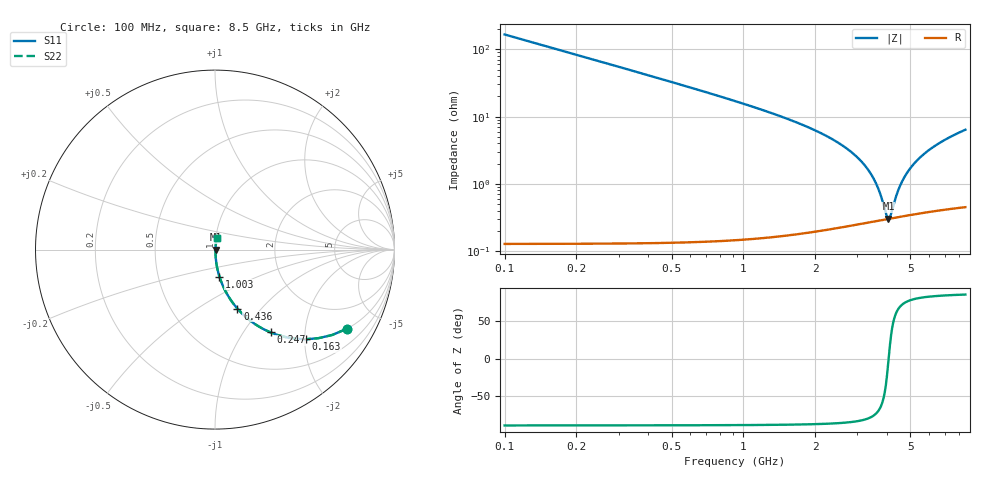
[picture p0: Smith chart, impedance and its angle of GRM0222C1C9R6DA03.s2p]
!Murata Part Number: GRM0222C1C9R6DA03
!These Parameters are Measured in Series Mode Connection
!Data Generated on Mar 30, 2021
!  o--ll--o
!Port1  Port2
!  o------o
!Operation Temp=25[degC], DC Bias Voltage=0[V]
!Freq. Start=100[MHz] Stop=9[GHz] 401[Steps]
# Hz S RI R 50
!Freq.(Hz) S11(Real) S11(Imag) S21(Real) S21(Imag) S12(Real) S12(Imag) S22(Real) S22(Imag)
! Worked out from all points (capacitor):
!   401 points, 100 MHz to 8.5 GHz, reference 50 ohm
!   read as one part in series: C = 9.6 pF near 142 MHz
!   lowest |Z| = 304 mohm at 4.048 GHz (marker M1)
!   series resonance near 4.056 GHz, so ESL is about 160 pH
!   S11 on the Smith chart (normalised r, x): 100 MHz: 1.00, -3.31; 163 MHz: 1.00, -2.03; 247 MHz: 1.00, -1.34; 436 MHz: 1.00, -0.75; 1.003 GHz: 1.00, -0.31; 8.5 GHz: 1.01, +0.13
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1e8  0.7328 -0.4421  0.2672 0.4421  0.2672 0.4421  0.7328 -0.4421
1.63e8  0.5076 -0.4993  0.4924 0.4993  0.4924 0.4993  0.5076 -0.4993
2.47e8  0.3093 -0.4612  0.6907 0.4612  0.6907 0.4612  0.3093 -0.4612
3.31e8  0.199 -0.3979  0.801 0.3979  0.801 0.3979  0.199 -0.3979
4.36e8  0.1246 -0.3284  0.8754 0.3284  0.8754 0.3284  0.1246 -0.3284
6.88e8  0.053 -0.2211  0.947 0.2211  0.947 0.2211  0.053 -0.2211
1.003e9  0.0248 -0.1508  0.9752 0.1508  0.9752 0.1508  0.0248 -0.1508
1.507e9  0.0105 -0.0932  0.9895 0.0932  0.9895 0.0932  0.0105 -0.0932
2.914e9  0.00318 -0.027  0.9968 0.027  0.9968 0.027  0.00318 -0.027
3.25e9  0.00294 -0.0179  0.9971 0.0179  0.9971 0.0179  0.00294 -0.0179
3.523e9  0.00289 -0.0113  0.9971 0.0113  0.9971 0.0113  0.00289 -0.0113
3.733e9  0.00291 -0.00663  0.9971 0.00663  0.9971 0.00663  0.00291 -0.00663
3.964e9  0.00299 -0.00182  0.997 0.00182  0.997 0.00182  0.00299 -0.00182
4.048e9  0.00302 -0.000153  0.997 0.000153  0.997 0.000153  0.00302 -0.000153
4.132e9  0.00307 0.00148  0.9969 -0.00148  0.9969 -0.00148  0.00307 0.00148
4.3e9  0.00316 0.00465  0.9968 -0.00465  0.9968 -0.00465  0.00316 0.00465
4.531e9  0.00332 0.00882  0.9967 -0.00882  0.9967 -0.00882  0.00332 0.00882
4.825e9  0.00357 0.0138  0.9964 -0.0138  0.9964 -0.0138  0.00357 0.0138
5.203e9  0.00393 0.0199  0.9961 -0.0199  0.9961 -0.0199  0.00393 0.0199
5.707e9  0.00448 0.0275  0.9955 -0.0275  0.9955 -0.0275  0.00448 0.0275
7.114e9  0.00633 0.0463  0.9937 -0.0463  0.9937 -0.0463  0.00633 0.0463
8.5e9  0.00849 0.0629  0.9915 -0.0629  0.9915 -0.0629  0.00849 0.0629
